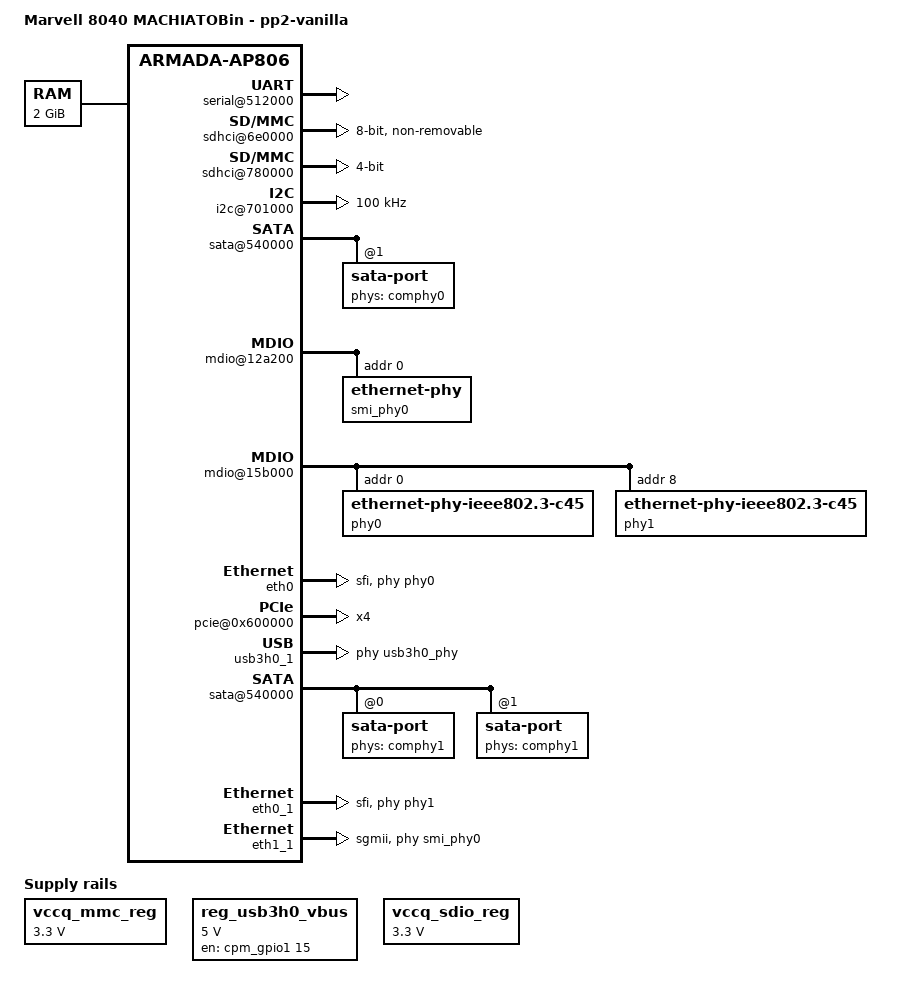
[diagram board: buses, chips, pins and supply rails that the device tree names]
/*
 * Copyright (C) 2016 Marvell Technology Group Ltd.
 *
 * This file is dual-licensed: you can use it either under the terms
 * of the GPLv2 or the X11 license, at your option. Note that this dual
 * licensing only applies to this file, and not this project as a
 * whole.
 *
 *  a) This library is free software; you can redistribute it and/or
 *     modify it under the terms of the GNU General Public License as
 *     published by the Free Software Foundation; either version 2 of the
 *     License, or (at your option) any later version.
 *
 *     This library is distributed in the hope that it will be useful,
 *     but WITHOUT ANY WARRANTY; without even the implied warranty of
 *     MERCHANTABILITY or FITNESS FOR A PARTICULAR PURPOSE.  See the
 *     GNU General Public License for more details.
 *
 * Or, alternatively,
 *
 *  b) Permission is hereby granted, free of charge, to any person
 *     obtaining a copy of this software and associated documentation
 *     files (the "Software"), to deal in the Software without
 *     restriction, including without limitation the rights to use,
 *     copy, modify, merge, publish, distribute, sublicense, and/or
 *     sell copies of the Software, and to permit persons to whom the
 *     Software is furnished to do so, subject to the following
 *     conditions:
 *
 *     The above copyright notice and this permission notice shall be
 *     included in all copies or substantial portions of the Software.
 *
 *     THE SOFTWARE IS PROVIDED "AS IS", WITHOUT WARRANTY OF ANY KIND,
 *     EXPRESS OR IMPLIED, INCLUDING BUT NOT LIMITED TO THE WARRANTIES
 *     OF MERCHANTABILITY, FITNESS FOR A PARTICULAR PURPOSE AND
 *     NONINFRINGEMENT. IN NO EVENT SHALL THE AUTHORS OR COPYRIGHT
 *     HOLDERS BE LIABLE FOR ANY CLAIM, DAMAGES OR OTHER LIABILITY,
 *     WHETHER IN AN ACTION OF CONTRACT, TORT OR OTHERWISE, ARISING
 *     FROM, OUT OF OR IN CONNECTION WITH THE SOFTWARE OR THE USE OR
 *     OTHER DEALINGS IN THE SOFTWARE.
 */

/*
 * Device Tree file for MACCHIATOBin Armada 8040 community board platform
 */

#include "armada-8040.dtsi"

/ {
	model = "Marvell 8040 MACHIATOBin - pp2-vanilla";
	compatible = "marvell,armada8040-mcbin", "marvell,armada8040",
			"marvell,armada-ap806-quad", "marvell,armada-ap806";

	aliases {
		ethernet0 = &eth0;
		ethernet1 = &eth0_1;
		ethernet2 = &eth1_1;
		ethernet3 = &eth2_1;
	};

	memory@00000000 {
		device_type = "memory";
		reg = <0x0 0x0 0x0 0x80000000>;
	};

	ap806 {
		config-space {
			serial@512000 {
				status = "okay";
			};
			sdhci@6e0000 {
				vqmmc-supply = <&vccq_mmc_reg>;
				bus-width = <8>;
				no-1-8-v;
				non-removable;
				marvell,xenon-emmc;
				status = "okay";
			};
			vccq_mmc_reg: regulator@0 {
				compatible = "regulator-fixed";
				regulator-name = "vccq-mmc-reg";
				regulator-min-microvolt = <3300000>;
				regulator-max-microvolt = <3300000>;
				regulator-always-on;
				status = "okay";
			};
		};
	};

	cpn-110-master {
		config-space {
			/delete-node/ppv22@000000;
			pinctrl@440000 {
				xhci0_vbus_pins: xhci0-vbus-pins {
					marvell,pins = "mpp47";
					marvell,function = "gpio";
				};
			};
			comphy0: comphy {
				status = "disabled";
			};
			sdhci@780000 {
				vqmmc-supply = <&vccq_sdio_reg>;
				bus-width = <4>;
				no-1-8-v;
				broken-cd;
				pinctrl-names = "default";
				pinctrl-0 = <&cpm_sdhci_pins>;
				status = "okay";
			};
			i2c@701000 {
				clock-frequency = <100000>;
				pinctrl-names = "default";
				pinctrl-0 = <&cpm_i2c0_pins>;
				status = "okay";
			};
			sata@540000 {
				status = "okay";

				sata-port@0 {
					status = "disabled";
				};
				sata-port@1 {
					phys = <&comphy0 5 COMPHY_SATA1>;
					phy-names = "comphy";
					status = "okay";
				};
			};
			mdio@12a200 {
				#address-cells = <1>;
				#size-cells = <0>;
				smi_phy0: ethernet-phy@0 {
					reg = <0>;
				};
			};
			mdio@15b000 {
				#address-cells = <1>;
				#size-cells = <0>;
				phy0: ethernet-phy@0 {
					compatible = "ethernet-phy-ieee802.3-c45";
					reg = <0>;
				};
				phy1: ethernet-phy@1 {
					compatible = "ethernet-phy-ieee802.3-c45";
					reg = <8>;
				};
			};
			ppv22_vanilla@000000 {
				compatible = "marvell,armada-7k-pp22";
				reg = <0x0 0x100000>, <0x129000 0xb000>;
				clocks = <&cpm_syscon0 1 3>, <&cpm_syscon0 1 9>, <&cpm_syscon0 1 5>;
				clock-names = "pp_clk", "gop_clk", "mg_clk";
				dma-coherent;
				pinctrl-names = "default";
				status = "okay";
				eth0: eth0@010000 {
					interrupts = <ICU_GRP_NSR 39 IRQ_TYPE_LEVEL_HIGH>,
						     <ICU_GRP_NSR 43 IRQ_TYPE_LEVEL_HIGH>,
						     <ICU_GRP_NSR 47 IRQ_TYPE_LEVEL_HIGH>,
						     <ICU_GRP_NSR 51 IRQ_TYPE_LEVEL_HIGH>,
						     <ICU_GRP_NSR 55 IRQ_TYPE_LEVEL_HIGH>,
						     <ICU_GRP_NSR 129 IRQ_TYPE_LEVEL_HIGH>;
					interrupt-names = "tx-cpu0", "tx-cpu1", "tx-cpu2",
							  "tx-cpu3", "rx-shared", "link";
					mac-address = [00 00 00 00 00 01];
					port-id = <0>; /* pp2_port_id */
					gop-port-id = <0>;
					phy-mode = "sfi"; /* lane-2 */
					phy = <&phy0>;
					status = "okay";
				};
				eth1: eth1@020000 {
					interrupts = <ICU_GRP_NSR 40 IRQ_TYPE_LEVEL_HIGH>,
						     <ICU_GRP_NSR 44 IRQ_TYPE_LEVEL_HIGH>,
						     <ICU_GRP_NSR 48 IRQ_TYPE_LEVEL_HIGH>,
						     <ICU_GRP_NSR 52 IRQ_TYPE_LEVEL_HIGH>,
						     <ICU_GRP_NSR 56 IRQ_TYPE_LEVEL_HIGH>,
						     <ICU_GRP_NSR 128 IRQ_TYPE_LEVEL_HIGH>;
					interrupt-names = "tx-cpu0", "tx-cpu1", "tx-cpu2",
							  "tx-cpu3", "rx-shared", "link";
					mac-address = [00 00 00 00 00 02];
					port-id = <1>; /* pp2_port_id */
					gop-port-id = <2>;
					status = "disabled";
				};
				eth2: eth2@030000 {
					interrupts = <ICU_GRP_NSR 41 IRQ_TYPE_LEVEL_HIGH>,
						     <ICU_GRP_NSR 45 IRQ_TYPE_LEVEL_HIGH>,
						     <ICU_GRP_NSR 49 IRQ_TYPE_LEVEL_HIGH>,
						     <ICU_GRP_NSR 53 IRQ_TYPE_LEVEL_HIGH>,
						     <ICU_GRP_NSR 57 IRQ_TYPE_LEVEL_HIGH>,
						     <ICU_GRP_NSR 127 IRQ_TYPE_LEVEL_HIGH>;
					interrupt-names = "tx-cpu0", "tx-cpu1", "tx-cpu2",
							  "tx-cpu3", "rx-shared", "link";
					mac-address = [00 00 00 00 00 03];
					port-id = <2>; /* pp2_port_id */
					gop-port-id = <3>;
					status = "disabled";
				};
			};
			eip197@800000 {
				status = "okay";
			};
		};
		pcie@0x600000 {
			num-lanes = <4>;
			status = "okay";
		};
		reg_usb3h0_vbus: usb3-vbus0 {
			compatible = "regulator-fixed";
			pinctrl-names = "default";
			pinctrl-0 = <&xhci0_vbus_pins>;
			regulator-name = "reg-usb3h0-vbus";
			regulator-min-microvolt = <5000000>;
			regulator-max-microvolt = <5000000>;
			enable-active-high;
			gpio = <&cpm_gpio1 15 GPIO_ACTIVE_HIGH>;
			status = "okay";
		};
		vccq_sdio_reg: regulator@1 {
			compatible = "regulator-fixed";
			regulator-name = "vccq-sdio-reg";
			regulator-min-microvolt = <3300000>;
			regulator-max-microvolt = <3300000>;
			regulator-always-on;
			status = "okay";
		};
	};

	cpn-110-slave {
		config-space {
			/delete-node/ppv22@000000;
			comphy1: comphy {
				status = "disabled";
			};
			usb3h0_1: usb3@500000 {
				usb-phy = <&usb3h0_phy>;
				status = "okay";
			};
			usb3h0_phy: usb3_phy0 {
				compatible = "usb-nop-xceiv";
				vcc-supply = <&reg_usb3h0_vbus>;
			};
			sata@540000 {
				status = "okay";

				sata-port@0 {
					phys = <&comphy1 1 COMPHY_SATA0>;
					phy-names = "comphy";
					status = "okay";
				};
				sata-port@1 {
					phys = <&comphy1 3 COMPHY_SATA1>;
					phy-names = "comphy";
					status = "okay";
				};
			};
			ppv22_vanilla@000000 {
				compatible = "marvell,armada-7k-pp22";
				reg = <0x0 0x100000>, <0x129000 0xb000>;
				clocks = <&cps_syscon0 1 3>, <&cps_syscon0 1 9>, <&cps_syscon0 1 5>;
				clock-names = "pp_clk", "gop_clk", "mg_clk";
				dma-coherent;
				pinctrl-names = "default";
				status = "okay";
				eth0_1: eth0@010000 {
					phy-mode = "sfi";
					phy = <&phy1>;
					port-id = <0>; /* pp2_port_id */
					gop-port-id = <0>;
					interrupts = <ICU_GRP_NSR 39 IRQ_TYPE_LEVEL_HIGH>,
						     <ICU_GRP_NSR 43 IRQ_TYPE_LEVEL_HIGH>,
						     <ICU_GRP_NSR 47 IRQ_TYPE_LEVEL_HIGH>,
						     <ICU_GRP_NSR 51 IRQ_TYPE_LEVEL_HIGH>,
						     <ICU_GRP_NSR 55 IRQ_TYPE_LEVEL_HIGH>,
						     <ICU_GRP_NSR 129 IRQ_TYPE_LEVEL_HIGH>;
					interrupt-names = "tx-cpu0", "tx-cpu1", "tx-cpu2",
							  "tx-cpu3", "rx-shared", "link";
					mac-address = [00 00 00 00 00 04];
					status = "okay";
				};
				eth1_1: eth1@020000 {
					phy-mode = "sgmii";
					port-id = <1>; /* pp2_port_id */
					phy = <&smi_phy0>;
					gop-port-id = <2>;
					interrupts = <ICU_GRP_NSR 40 IRQ_TYPE_LEVEL_HIGH>,
						     <ICU_GRP_NSR 44 IRQ_TYPE_LEVEL_HIGH>,
						     <ICU_GRP_NSR 48 IRQ_TYPE_LEVEL_HIGH>,
						     <ICU_GRP_NSR 52 IRQ_TYPE_LEVEL_HIGH>,
						     <ICU_GRP_NSR 56 IRQ_TYPE_LEVEL_HIGH>,
						     <ICU_GRP_NSR 128 IRQ_TYPE_LEVEL_HIGH>;
					interrupt-names = "tx-cpu0", "tx-cpu1", "tx-cpu2",
							  "tx-cpu3", "rx-shared", "link";
					mac-address = [00 00 00 00 00 05];
					status = "okay";
				};
				eth2_1: eth2@030000 {
					interrupts = <ICU_GRP_NSR 41 IRQ_TYPE_LEVEL_HIGH>,
						     <ICU_GRP_NSR 45 IRQ_TYPE_LEVEL_HIGH>,
						     <ICU_GRP_NSR 49 IRQ_TYPE_LEVEL_HIGH>,
						     <ICU_GRP_NSR 53 IRQ_TYPE_LEVEL_HIGH>,
						     <ICU_GRP_NSR 57 IRQ_TYPE_LEVEL_HIGH>,
						     <ICU_GRP_NSR 127 IRQ_TYPE_LEVEL_HIGH>;
					interrupt-names = "tx-cpu0", "tx-cpu1", "tx-cpu2",
							  "tx-cpu3", "rx-shared", "link";
					mac-address = [00 00 00 00 00 06];
					port-id = <2>;
					gop-port-id = <3>;
					status = "disabled";
				};
			};
			eip197@800000 {
				status = "okay";
			};
		};
	};
};
